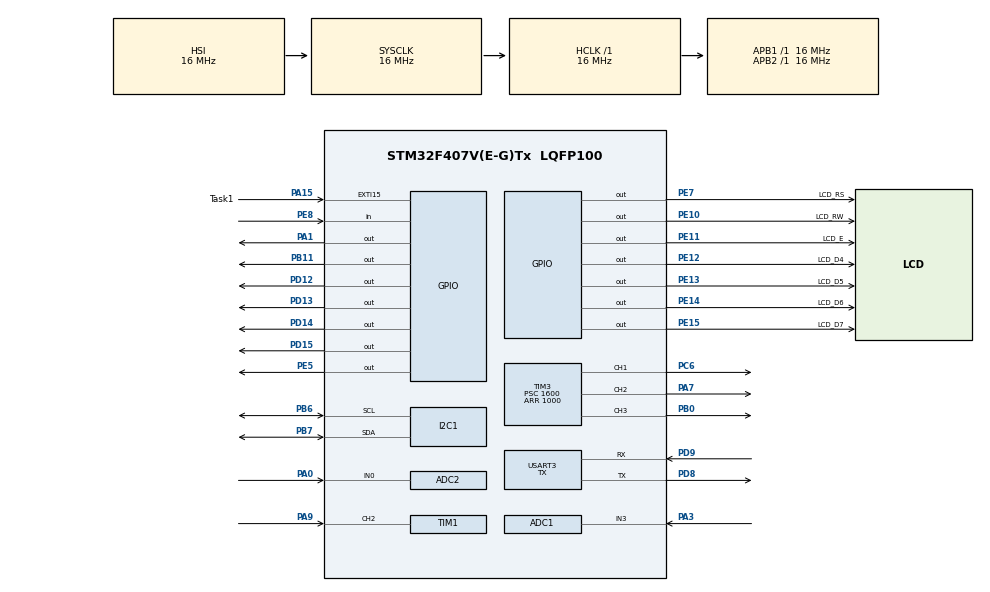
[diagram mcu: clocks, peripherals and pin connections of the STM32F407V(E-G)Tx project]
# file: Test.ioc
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ADC1.Channel-0\#ChannelRegularConversion=ADC_CHANNEL_3
ADC1.ContinuousConvMode=DISABLE
ADC1.EOCSelection=ADC_EOC_SINGLE_CONV
ADC1.NbrOfConversion=1
ADC1.NbrOfConversionFlag=1
ADC1.Rank-0\#ChannelRegularConversion=1
ADC1.SamplingTime-0\#ChannelRegularConversion=ADC_SAMPLETIME_480CYCLES
ADC1.ScanConvMode=DISABLE
ADC1.master=1
ADC2.Channel-7\#ChannelRegularConversion=ADC_CHANNEL_0
ADC2.NbrOfConversionFlag=1
ADC2.Rank-7\#ChannelRegularConversion=1
ADC2.SamplingTime-7\#ChannelRegularConversion=ADC_SAMPLETIME_480CYCLES
Mcu.Family=STM32F4
Mcu.Name=STM32F407V(E-G)Tx
Mcu.Package=LQFP100
NVIC.ADC_IRQn=true\:0\:0\:false\:false\:true\:true\:true\:true
NVIC.EXTI15_10_IRQn=true\:0\:0\:false\:false\:true\:true\:true\:true
NVIC.PriorityGroup=NVIC_PRIORITYGROUP_4
NVIC.TIM1_CC_IRQn=true\:0\:0\:false\:false\:true\:true\:true\:true
PA0-WKUP.Signal=ADCx_IN0
PA1.Signal=GPIO_Output
PA15.GPIO_Label=Task1
PA15.Signal=GPXTI15
PA3.Signal=ADCx_IN3
PA7.Signal=S_TIM3_CH2
PA9.Signal=S_TIM1_CH2
PB0.Signal=S_TIM3_CH3
PB11.Signal=GPIO_Output
PB6.Mode=I2C
PB6.Signal=I2C1_SCL
PB7.Mode=I2C
PB7.Signal=I2C1_SDA
PC6.Signal=S_TIM3_CH1
PD12.Signal=GPIO_Output
PD13.Signal=GPIO_Output
PD14.Signal=GPIO_Output
PD15.Signal=GPIO_Output
PD8.Mode=Asynchronous
PD8.Signal=USART3_TX
PD9.Mode=Asynchronous
PD9.Signal=USART3_RX
PE10.GPIO_Label=LCD_RW
PE10.Signal=GPIO_Output
PE11.GPIO_Label=LCD_E
PE11.Signal=GPIO_Output
PE12.GPIO_Label=LCD_D4
PE12.Signal=GPIO_Output
PE13.GPIO_Label=LCD_D5
PE13.Signal=GPIO_Output
PE14.GPIO_Label=LCD_D6
PE14.Signal=GPIO_Output
PE15.GPIO_Label=LCD_D7
PE15.Signal=GPIO_Output
PE5.Signal=GPIO_Output
PE7.GPIO_Label=LCD_RS
PE7.Signal=GPIO_Output
PE8.Signal=GPIO_Input
PH0-OSC_IN.Mode=HSE-External-Oscillator
PH0-OSC_IN.Signal=RCC_OSC_IN
PH1-OSC_OUT.Mode=HSE-External-Oscillator
PH1-OSC_OUT.Signal=RCC_OSC_OUT
ProjectManager.HeapSize=0x200
ProjectManager.StackSize=0x400
ProjectManager.TargetToolchain=STM32CubeIDE
RCC.AHBFreq_Value=16000000
RCC.APB1Freq_Value=16000000
RCC.APB2Freq_Value=16000000
RCC.CortexFreq_Value=16000000
RCC.HSE_VALUE=25000000
RCC.HSI_VALUE=16000000
RCC.LSE_VALUE=32768
RCC.SYSCLKFreq_VALUE=16000000
RCC.VCOOutputFreq_Value=192000000
SH.ADCx_IN0.0=ADC2_IN0,IN0
SH.ADCx_IN3.0=ADC1_IN3,IN3
SH.S_TIM1_CH2.0=TIM1_CH2,Input_Capture2_from_TI2
SH.S_TIM3_CH1.0=TIM3_CH1,PWM Generation1 CH1
SH.S_TIM3_CH2.0=TIM3_CH2,PWM Generation2 CH2
SH.S_TIM3_CH3.0=TIM3_CH3,PWM Generation3 CH3
TIM1.Channel-Input_Capture2_from_TI2=TIM_CHANNEL_2
TIM1.Prescaler=16-1
TIM3.Channel-PWM\ Generation1\ CH1=TIM_CHANNEL_1
TIM3.Channel-PWM\ Generation2\ CH2=TIM_CHANNEL_2
TIM3.Channel-PWM\ Generation3\ CH3=TIM_CHANNEL_3
TIM3.Period=1000
TIM3.Prescaler=1600
USART3.Mode=MODE_TX
USART3.VirtualMode=VM_ASYNC
VP_TIM4_VS_ClockSourceINT.Mode=Internal
board=custom

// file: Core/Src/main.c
/* USER CODE BEGIN Header */
/**
  ******************************************************************************
  * @file           : main.c
  * @brief          : Main program body
  ******************************************************************************
  * @attention
  *
  * Copyright (c) 2025 STMicroelectronics.
  * All rights reserved.
  *
  * This software is licensed under terms that can be found in the LICENSE file
  * in the root directory of this software component.
  * If no LICENSE file comes with this software, it is provided AS-IS.
  *
  ******************************************************************************
  */
/* USER CODE END Header */
#include "main.h"

/* USER CODE BEGIN Includes */
#include "sht2x_for_stm32_hal.h"
#include "hd44780.h"
#include <string.h>
#include <stdio.h>
#include <stdbool.h>
/* USER CODE END Includes */

ADC_HandleTypeDef hadc1;
ADC_HandleTypeDef hadc2;

I2C_HandleTypeDef hi2c1;

TIM_HandleTypeDef htim1;
TIM_HandleTypeDef htim3;
TIM_HandleTypeDef htim4;

UART_HandleTypeDef huart3;

/* USER CODE BEGIN PV */
volatile uint32_t risingTick = 0;
volatile uint32_t fallingTick = 0;
volatile uint32_t soundTime = 0;
volatile bool shouldRise = true;
volatile bool isSoundOn = false;
volatile bool isSoundOn2 = false;
const float SPEED_OF_SOUND_CM_IN_MS = 0.0343f;

char distanceOut[16];
/* USER CODE END PV */

void SystemClock_Config(void);
static void MX_GPIO_Init(void);
static void MX_I2C1_Init(void);
static void MX_ADC1_Init(void);
static void MX_TIM4_Init(void);
static void MX_ADC2_Init(void);
static void MX_TIM1_Init(void);
static void MX_USART3_UART_Init(void);
static void MX_TIM3_Init(void);

/* USER CODE BEGIN 0 */
unsigned char deg_sym[FONT_HEIGHT] = {0x07,0x05,0x07,0x00,0x00,0x00,0x00,0x00};
volatile int adc1Flag = 0;
volatile int adc2Flag = 0;
volatile int task = 1;
volatile int dis2;
/* USER CODE END 0 */

int main(void)
{

  /* MCU Configuration--------------------------------------------------------*/

  /* Reset of all peripherals, Initializes the Flash interface and the Systick. */
  HAL_Init();

  /* Configure the system clock */
  SystemClock_Config();

  /* Initialize all configured peripherals */
  MX_GPIO_Init();
  MX_I2C1_Init();
  MX_ADC1_Init();
  MX_TIM4_Init();
  MX_ADC2_Init();
  MX_TIM1_Init();
  MX_USART3_UART_Init();
  MX_TIM3_Init();
  /* USER CODE BEGIN 2 */
  // temperature-humidity sensor
  SHT2x_Init(&hi2c1);
  SHT2x_SetResolution(RES_14_12);
  SHT2x_SoftReset();
  // LCD display
  lcdInit();
  // load degree symbol
  lcdLoadChar(deg_sym,6);
  //PWM timer

  HAL_TIM_PWM_Start(&htim3, TIM_CHANNEL_1);
  HAL_TIM_PWM_Start(&htim3, TIM_CHANNEL_3);
  HAL_TIM_PWM_Start(&htim3, TIM_CHANNEL_2);

  HAL_TIM_IC_Start_IT(&htim1, TIM_CHANNEL_2);
  /* USER CODE END 2 */

  /* Infinite loop */
  /* USER CODE BEGIN WHILE */

  HAL_ADC_Start_IT(&hadc1);
  HAL_ADC_Start_IT(&hadc2);
//  uint32_t adcValue = 0;
//  volatile HAL_StatusTypeDef adcPoolResult;

  while (1)
  {
	  uint32_t adcValue;

	  switch (task){
	  	  case 0:
	  	  {
	    if(adc1Flag)
	    {
	          adcValue = HAL_ADC_GetValue(&hadc1);

	          float volts = adcValue * 5.0 / 4096.0;
	          float amps = volts / 10000.0;  // across 10,000 Ohms
	          float microamps = amps * 1000000;
	          float lux = microamps * 2.0;

	          uint32_t dutyCycle = 1000 - lux;

	          HAL_GPIO_WritePin(GPIOD, GPIO_PIN_13 | GPIO_PIN_12 | GPIO_PIN_14 | GPIO_PIN_15, GPIO_PIN_RESET);
	          isSoundOn = false;
	          	          if (lux>100){

	          	          } else if (lux>30) {
	          	        	  HAL_GPIO_WritePin(GPIOD, GPIO_PIN_15, GPIO_PIN_SET);
	          	          } else if (lux>10) {
	          	        	  HAL_GPIO_WritePin(GPIOD, GPIO_PIN_12 | GPIO_PIN_15, GPIO_PIN_SET);
	          	          } else if (lux>1) {
	          	        	  HAL_GPIO_WritePin(GPIOD, GPIO_PIN_13 | GPIO_PIN_15 | GPIO_PIN_12, GPIO_PIN_SET);
	          	          } else {
	          	        	  HAL_GPIO_WritePin(GPIOD, GPIO_PIN_13 | GPIO_PIN_12 | GPIO_PIN_14 | GPIO_PIN_15, GPIO_PIN_SET);

	          	        	  isSoundOn = true;
	          	          }

	          	          lcdClrScr();
	          	          lcdFtos(lux, 5);

	          adc1Flag = 0;
	          HAL_ADC_Start_IT(&hadc1);

	    	  }
	    break;
	  }
	  case 1:
	  {
		  HCSR04_Trigger(GPIOA, GPIO_PIN_1);
		  if (adc2Flag) {
		  	  	  adcValue = HAL_ADC_GetValue(&hadc2);

		  	  	  int distance;

		  	  	  float b1 = 0.1;
		  	  	  float b2;

		  	  	  if (adcValue >= 2900) {distance=20;  b1 = 0;}
		  	  	  else if (adcValue >= 2300) {distance=30; b1 = 1;}
		  			else if (adcValue >= 1700) {distance=40; b1 = 0.9;}
		  			else if (adcValue >= 1400) {distance=50; b1 = 0.9;}
		  			else if (adcValue >= 1100) {distance=60; b1 = 0.8;}
		  			else if (adcValue >= 1000) {distance=70; b1 = 0.8;}
		  			else if (adcValue >= 840) {distance=80; b1 = 0.6;}
		  			else if (adcValue >= 750) {distance=90; b1 = 0.6;}
		  			else if (adcValue >= 650) {distance=100; b1 = 0.4;}
		  			else if (adcValue >= 600) {distance=110; b1 = 0.4;}
		  			else if (adcValue >= 530) {distance=120; b1 = 0.1;}
		  	  	  isSoundOn2 = distance <=30 || (dis2>10 && dis2<=30); // dis2 may be 0

		  	  	  	 if (dis2 >= 120) {b2=0.1;}
		  	  	  	 else if (dis2 >= 90) {b2=0.4;}
		  	  	  	 else if (dis2 >= 70) {b2=0.6;}
		  	  	 	 else if (dis2 >= 50) {b2=0.8;}
					 else if (dis2 >= 40) {b2=0.9;}
					 else if (dis2 >= 30) {b2=1;}
					 else {b2=0;}

		  	  		TIM3->CCR1=isSoundOn2?1000:0; // red
		  	  		TIM3->CCR2=(int)(1000*b1); //green
		  	  		TIM3->CCR3=(int)(1000*b2); //blue

		  	  	  //lcdClrScr();
		  	  	  char firstDist[16];
		  	  	sprintf(firstDist, "d1 = %d cm", distance);
		  	  lcdClrScr();
		  	  	  lcdPuts(firstDist);
		  	  	lcdPuts(distanceOut);
		  	  	  adc2Flag = 0;
		  	  	  HAL_ADC_Start_IT(&hadc2);

		  	    }
		  break;
	  }

	  case 2:
	  {

	  float cel = SHT2x_GetTemperature(1);
	  float rh = SHT2x_GetRelativeHumidity(1);

	  lcdClrScr();
	  lcdPuts("Temp: ");
	  lcdFtos(cel, 3);
	  lcdPutc(6);
	  lcdPuts("C\n");
	  lcdPuts("Hum : ");
	  lcdFtos(rh, 3);
	  lcdPuts(" %");

	  int len = snprintf(NULL, 0, "temp=%.2f C, hum=%.2f \r\n", cel, rh);
	  char tempHumOut[len];
	  sprintf(tempHumOut, "temp=%.2f C, hum=%.2f \r\n", cel, rh);

	  HAL_UART_Transmit(&huart3, (uint8_t *)tempHumOut, len, 100);

	  break;
	  }
  }
	  HAL_GPIO_WritePin(GPIOE, GPIO_PIN_5, (isSoundOn&& task==0)  || (isSoundOn2&& task==1) ? GPIO_PIN_SET : GPIO_PIN_RESET);
	  HAL_Delay(500);

	  //	    if (adc2Flag) {
	  //	  	  adcValue = HAL_ADC_GetValue(&hadc2);
	  //
	  //
	  //	  	  if (adcValue < 2048)
	  //	  		{
	  //	  			HAL_GPIO_WritePin(GPIOD, GPIO_PIN_13, GPIO_PIN_RESET);
	  //
	  //	  		}
	  //	  		else if (adcValue >= 2048)
	  //	  		{
	  //	  			HAL_GPIO_WritePin(GPIOD, GPIO_PIN_13, GPIO_PIN_SET);
	  //	  		}
	  //	  	  adc2Flag = 0;
	  //	  	  HAL_ADC_Start_IT(&hadc2);
	  //
	  //	    }

    /* USER CODE END WHILE */

  }
}

void SystemClock_Config(void)
{
  RCC_OscInitTypeDef RCC_OscInitStruct = {0};
  RCC_ClkInitTypeDef RCC_ClkInitStruct = {0};

  /** Configure the main internal regulator output voltage
  */
  __HAL_RCC_PWR_CLK_ENABLE();
  __HAL_PWR_VOLTAGESCALING_CONFIG(PWR_REGULATOR_VOLTAGE_SCALE1);

  /** Initializes the RCC Oscillators according to the specified parameters
  * in the RCC_OscInitTypeDef structure.
  */
  RCC_OscInitStruct.OscillatorType = RCC_OSCILLATORTYPE_HSI;
  RCC_OscInitStruct.HSIState = RCC_HSI_ON;
  RCC_OscInitStruct.HSICalibrationValue = RCC_HSICALIBRATION_DEFAULT;
  RCC_OscInitStruct.PLL.PLLState = RCC_PLL_NONE;
  if (HAL_RCC_OscConfig(&RCC_OscInitStruct) != HAL_OK)
  {
    Error_Handler();
  }

  /** Initializes the CPU, AHB and APB buses clocks
  */
  RCC_ClkInitStruct.ClockType = RCC_CLOCKTYPE_HCLK|RCC_CLOCKTYPE_SYSCLK
                              |RCC_CLOCKTYPE_PCLK1|RCC_CLOCKTYPE_PCLK2;
  RCC_ClkInitStruct.SYSCLKSource = RCC_SYSCLKSOURCE_HSI;
  RCC_ClkInitStruct.AHBCLKDivider = RCC_SYSCLK_DIV1;
  RCC_ClkInitStruct.APB1CLKDivider = RCC_HCLK_DIV1;
  RCC_ClkInitStruct.APB2CLKDivider = RCC_HCLK_DIV1;

  if (HAL_RCC_ClockConfig(&RCC_ClkInitStruct, FLASH_LATENCY_0) != HAL_OK)
  {
    Error_Handler();
  }
}

static void MX_ADC1_Init(void)
{

  ADC_ChannelConfTypeDef sConfig = {0};

  /** Configure the global features of the ADC (Clock, Resolution, Data Alignment and number of conversion)
  */
  hadc1.Instance = ADC1;
  hadc1.Init.ClockPrescaler = ADC_CLOCK_SYNC_PCLK_DIV2;
  hadc1.Init.Resolution = ADC_RESOLUTION_12B;
  hadc1.Init.ScanConvMode = DISABLE;
  hadc1.Init.ContinuousConvMode = DISABLE;
  hadc1.Init.DiscontinuousConvMode = DISABLE;
  hadc1.Init.ExternalTrigConvEdge = ADC_EXTERNALTRIGCONVEDGE_NONE;
  hadc1.Init.ExternalTrigConv = ADC_SOFTWARE_START;
  hadc1.Init.DataAlign = ADC_DATAALIGN_RIGHT;
  hadc1.Init.NbrOfConversion = 1;
  hadc1.Init.DMAContinuousRequests = DISABLE;
  hadc1.Init.EOCSelection = ADC_EOC_SINGLE_CONV;
  if (HAL_ADC_Init(&hadc1) != HAL_OK)
  {
    Error_Handler();
  }

  /** Configure for the selected ADC regular channel its corresponding rank in the sequencer and its sample time.
  */
  sConfig.Channel = ADC_CHANNEL_3;
  sConfig.Rank = 1;
  sConfig.SamplingTime = ADC_SAMPLETIME_480CYCLES;
  if (HAL_ADC_ConfigChannel(&hadc1, &sConfig) != HAL_OK)
  {
    Error_Handler();
  }

}

static void MX_ADC2_Init(void)
{

  ADC_ChannelConfTypeDef sConfig = {0};

  /** Configure the global features of the ADC (Clock, Resolution, Data Alignment and number of conversion)
  */
  hadc2.Instance = ADC2;
  hadc2.Init.ClockPrescaler = ADC_CLOCK_SYNC_PCLK_DIV2;
  hadc2.Init.Resolution = ADC_RESOLUTION_12B;
  hadc2.Init.ScanConvMode = DISABLE;
  hadc2.Init.ContinuousConvMode = DISABLE;
  hadc2.Init.DiscontinuousConvMode = DISABLE;
  hadc2.Init.ExternalTrigConvEdge = ADC_EXTERNALTRIGCONVEDGE_NONE;
  hadc2.Init.ExternalTrigConv = ADC_SOFTWARE_START;
  hadc2.Init.DataAlign = ADC_DATAALIGN_RIGHT;
  hadc2.Init.NbrOfConversion = 1;
  hadc2.Init.DMAContinuousRequests = DISABLE;
  hadc2.Init.EOCSelection = ADC_EOC_SINGLE_CONV;
  if (HAL_ADC_Init(&hadc2) != HAL_OK)
  {
    Error_Handler();
  }

  /** Configure for the selected ADC regular channel its corresponding rank in the sequencer and its sample time.
  */
  sConfig.Channel = ADC_CHANNEL_0;
  sConfig.Rank = 1;
  sConfig.SamplingTime = ADC_SAMPLETIME_480CYCLES;
  if (HAL_ADC_ConfigChannel(&hadc2, &sConfig) != HAL_OK)
  {
    Error_Handler();
  }

}

static void MX_I2C1_Init(void)
{

  hi2c1.Instance = I2C1;
  hi2c1.Init.ClockSpeed = 100000;
  hi2c1.Init.DutyCycle = I2C_DUTYCYCLE_2;
  hi2c1.Init.OwnAddress1 = 0;
  hi2c1.Init.AddressingMode = I2C_ADDRESSINGMODE_7BIT;
  hi2c1.Init.DualAddressMode = I2C_DUALADDRESS_DISABLE;
  hi2c1.Init.OwnAddress2 = 0;
  hi2c1.Init.GeneralCallMode = I2C_GENERALCALL_DISABLE;
  hi2c1.Init.NoStretchMode = I2C_NOSTRETCH_DISABLE;
  if (HAL_I2C_Init(&hi2c1) != HAL_OK)
  {
    Error_Handler();
  }

}

static void MX_TIM1_Init(void)
{

  TIM_MasterConfigTypeDef sMasterConfig = {0};
  TIM_IC_InitTypeDef sConfigIC = {0};

  htim1.Instance = TIM1;
  htim1.Init.Prescaler = 16-1;
  htim1.Init.CounterMode = TIM_COUNTERMODE_UP;
  htim1.Init.Period = 65535;
  htim1.Init.ClockDivision = TIM_CLOCKDIVISION_DIV1;
  htim1.Init.RepetitionCounter = 0;
  htim1.Init.AutoReloadPreload = TIM_AUTORELOAD_PRELOAD_DISABLE;
  if (HAL_TIM_IC_Init(&htim1) != HAL_OK)
  {
    Error_Handler();
  }
  sMasterConfig.MasterOutputTrigger = TIM_TRGO_RESET;
  sMasterConfig.MasterSlaveMode = TIM_MASTERSLAVEMODE_DISABLE;
  if (HAL_TIMEx_MasterConfigSynchronization(&htim1, &sMasterConfig) != HAL_OK)
  {
    Error_Handler();
  }
  sConfigIC.ICPolarity = TIM_INPUTCHANNELPOLARITY_RISING;
  sConfigIC.ICSelection = TIM_ICSELECTION_DIRECTTI;
  sConfigIC.ICPrescaler = TIM_ICPSC_DIV1;
  sConfigIC.ICFilter = 0;
  if (HAL_TIM_IC_ConfigChannel(&htim1, &sConfigIC, TIM_CHANNEL_2) != HAL_OK)
  {
    Error_Handler();
  }

}

static void MX_TIM3_Init(void)
{

  TIM_MasterConfigTypeDef sMasterConfig = {0};
  TIM_OC_InitTypeDef sConfigOC = {0};

  htim3.Instance = TIM3;
  htim3.Init.Prescaler = 1600;
  htim3.Init.CounterMode = TIM_COUNTERMODE_UP;
  htim3.Init.Period = 1000;
  htim3.Init.ClockDivision = TIM_CLOCKDIVISION_DIV1;
  htim3.Init.AutoReloadPreload = TIM_AUTORELOAD_PRELOAD_DISABLE;
  if (HAL_TIM_PWM_Init(&htim3) != HAL_OK)
  {
    Error_Handler();
  }
  sMasterConfig.MasterOutputTrigger = TIM_TRGO_RESET;
  sMasterConfig.MasterSlaveMode = TIM_MASTERSLAVEMODE_DISABLE;
  if (HAL_TIMEx_MasterConfigSynchronization(&htim3, &sMasterConfig) != HAL_OK)
  {
    Error_Handler();
  }
  sConfigOC.OCMode = TIM_OCMODE_PWM1;
  sConfigOC.Pulse = 0;
  sConfigOC.OCPolarity = TIM_OCPOLARITY_HIGH;
  sConfigOC.OCFastMode = TIM_OCFAST_DISABLE;
  if (HAL_TIM_PWM_ConfigChannel(&htim3, &sConfigOC, TIM_CHANNEL_1) != HAL_OK)
  {
    Error_Handler();
  }
  if (HAL_TIM_PWM_ConfigChannel(&htim3, &sConfigOC, TIM_CHANNEL_2) != HAL_OK)
  {
    Error_Handler();
  }
  if (HAL_TIM_PWM_ConfigChannel(&htim3, &sConfigOC, TIM_CHANNEL_3) != HAL_OK)
  {
    Error_Handler();
  }
  HAL_TIM_MspPostInit(&htim3);

}

static void MX_TIM4_Init(void)
{

  TIM_ClockConfigTypeDef sClockSourceConfig = {0};
  TIM_MasterConfigTypeDef sMasterConfig = {0};

  htim4.Instance = TIM4;
  htim4.Init.Prescaler = 0;
  htim4.Init.CounterMode = TIM_COUNTERMODE_UP;
  htim4.Init.Period = 65535;
  htim4.Init.ClockDivision = TIM_CLOCKDIVISION_DIV1;
  htim4.Init.AutoReloadPreload = TIM_AUTORELOAD_PRELOAD_DISABLE;
  if (HAL_TIM_Base_Init(&htim4) != HAL_OK)
  {
    Error_Handler();
  }
  sClockSourceConfig.ClockSource = TIM_CLOCKSOURCE_INTERNAL;
  if (HAL_TIM_ConfigClockSource(&htim4, &sClockSourceConfig) != HAL_OK)
  {
    Error_Handler();
  }
  sMasterConfig.MasterOutputTrigger = TIM_TRGO_RESET;
  sMasterConfig.MasterSlaveMode = TIM_MASTERSLAVEMODE_DISABLE;
  if (HAL_TIMEx_MasterConfigSynchronization(&htim4, &sMasterConfig) != HAL_OK)
  {
    Error_Handler();
  }

}

static void MX_USART3_UART_Init(void)
{

  huart3.Instance = USART3;
  huart3.Init.BaudRate = 115200;
  huart3.Init.WordLength = UART_WORDLENGTH_8B;
  huart3.Init.StopBits = UART_STOPBITS_1;
  huart3.Init.Parity = UART_PARITY_NONE;
  huart3.Init.Mode = UART_MODE_TX;
  huart3.Init.HwFlowCtl = UART_HWCONTROL_NONE;
  huart3.Init.OverSampling = UART_OVERSAMPLING_16;
  if (HAL_UART_Init(&huart3) != HAL_OK)
  {
    Error_Handler();
  }

}

static void MX_GPIO_Init(void)
{
  GPIO_InitTypeDef GPIO_InitStruct = {0};

  /* GPIO Ports Clock Enable */
  __HAL_RCC_GPIOE_CLK_ENABLE();
  __HAL_RCC_GPIOH_CLK_ENABLE();
  __HAL_RCC_GPIOA_CLK_ENABLE();
  __HAL_RCC_GPIOB_CLK_ENABLE();
  __HAL_RCC_GPIOD_CLK_ENABLE();
  __HAL_RCC_GPIOC_CLK_ENABLE();

  /*Configure GPIO pin Output Level */
  HAL_GPIO_WritePin(GPIOE, GPIO_PIN_5|LCD_RS_Pin|LCD_RW_Pin|LCD_E_Pin
                          |LCD_D4_Pin|LCD_D5_Pin|LCD_D6_Pin|LCD_D7_Pin, GPIO_PIN_RESET);

  /*Configure GPIO pin Output Level */
  HAL_GPIO_WritePin(GPIOA, GPIO_PIN_1, GPIO_PIN_RESET);

  /*Configure GPIO pin Output Level */
  HAL_GPIO_WritePin(GPIOB, GPIO_PIN_11, GPIO_PIN_RESET);

  /*Configure GPIO pin Output Level */
  HAL_GPIO_WritePin(GPIOD, GPIO_PIN_12|GPIO_PIN_13|GPIO_PIN_14|GPIO_PIN_15, GPIO_PIN_RESET);

  /*Configure GPIO pins : PE5 LCD_RS_Pin LCD_RW_Pin LCD_E_Pin
                           LCD_D4_Pin LCD_D5_Pin LCD_D6_Pin LCD_D7_Pin */
  GPIO_InitStruct.Pin = GPIO_PIN_5|LCD_RS_Pin|LCD_RW_Pin|LCD_E_Pin
                          |LCD_D4_Pin|LCD_D5_Pin|LCD_D6_Pin|LCD_D7_Pin;
  GPIO_InitStruct.Mode = GPIO_MODE_OUTPUT_PP;
  GPIO_InitStruct.Pull = GPIO_NOPULL;
  GPIO_InitStruct.Speed = GPIO_SPEED_FREQ_LOW;
  HAL_GPIO_Init(GPIOE, &GPIO_InitStruct);

  /*Configure GPIO pin : PA1 */
  GPIO_InitStruct.Pin = GPIO_PIN_1;
  GPIO_InitStruct.Mode = GPIO_MODE_OUTPUT_PP;
  GPIO_InitStruct.Pull = GPIO_NOPULL;
  GPIO_InitStruct.Speed = GPIO_SPEED_FREQ_LOW;
  HAL_GPIO_Init(GPIOA, &GPIO_InitStruct);

  /*Configure GPIO pin : PE8 */
  GPIO_InitStruct.Pin = GPIO_PIN_8;
  GPIO_InitStruct.Mode = GPIO_MODE_INPUT;
  GPIO_InitStruct.Pull = GPIO_NOPULL;
  HAL_GPIO_Init(GPIOE, &GPIO_InitStruct);

  /*Configure GPIO pin : PB11 */
  GPIO_InitStruct.Pin = GPIO_PIN_11;
  GPIO_InitStruct.Mode = GPIO_MODE_OUTPUT_PP;
  GPIO_InitStruct.Pull = GPIO_NOPULL;
  GPIO_InitStruct.Speed = GPIO_SPEED_FREQ_LOW;
  HAL_GPIO_Init(GPIOB, &GPIO_InitStruct);

  /*Configure GPIO pins : PD12 PD13 PD14 PD15 */
  GPIO_InitStruct.Pin = GPIO_PIN_12|GPIO_PIN_13|GPIO_PIN_14|GPIO_PIN_15;
  GPIO_InitStruct.Mode = GPIO_MODE_OUTPUT_PP;
  GPIO_InitStruct.Pull = GPIO_NOPULL;
  GPIO_InitStruct.Speed = GPIO_SPEED_FREQ_LOW;
  HAL_GPIO_Init(GPIOD, &GPIO_InitStruct);

  /*Configure GPIO pin : Task1_Pin */
  GPIO_InitStruct.Pin = Task1_Pin;
  GPIO_InitStruct.Mode = GPIO_MODE_IT_RISING;
  GPIO_InitStruct.Pull = GPIO_NOPULL;
  HAL_GPIO_Init(Task1_GPIO_Port, &GPIO_InitStruct);

  /* EXTI interrupt init*/
  HAL_NVIC_SetPriority(EXTI15_10_IRQn, 0, 0);
  HAL_NVIC_EnableIRQ(EXTI15_10_IRQn);

}

/* USER CODE BEGIN 4 */

void HAL_ADC_ConvCpltCallback(ADC_HandleTypeDef* hadc)
{
  if (hadc->Instance == ADC1)
	  adc1Flag = 1;
  else if (hadc->Instance == ADC2)
	  adc2Flag = 1;
}

void HAL_TIM_IC_CaptureCallback(TIM_HandleTypeDef *htim)
{
	if (htim->Channel != HAL_TIM_ACTIVE_CHANNEL_2) {
		return;
	}
	if (shouldRise) {
		risingTick = HAL_TIM_ReadCapturedValue(htim, TIM_CHANNEL_2);
		__HAL_TIM_SET_CAPTUREPOLARITY(htim, TIM_CHANNEL_2, TIM_INPUTCHANNELPOLARITY_FALLING);
		shouldRise = false;
		return;
	}
	fallingTick = HAL_TIM_ReadCapturedValue(htim, TIM_CHANNEL_2);
	__HAL_TIM_SET_CAPTUREPOLARITY(htim, TIM_CHANNEL_2, TIM_INPUTCHANNELPOLARITY_RISING);
	shouldRise = true;
	if (fallingTick >= risingTick) {
		soundTime = fallingTick - risingTick;
	} else {
		soundTime = (htim->Instance->ARR - risingTick) + fallingTick;
	}
	dis2 = (int)(soundTime * SPEED_OF_SOUND_CM_IN_MS) / 2;

	if (dis2>120){
		dis2=120;
	}else if (dis2<20){
		dis2=20;
	}

//	char distanceOut[16];

	sprintf(distanceOut, "\nd2 = %d cm", (int)dis2);
	//sslcdClrScr();
//	lcdPuts(distanceOut);
}

/* USER CODE END 4 */

void Error_Handler(void)
{
  __disable_irq();
  while (1)
  {
  }
}
